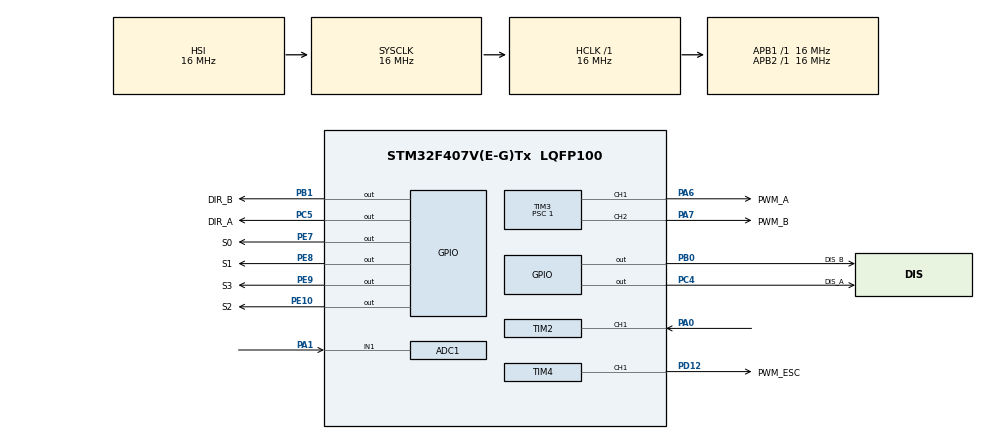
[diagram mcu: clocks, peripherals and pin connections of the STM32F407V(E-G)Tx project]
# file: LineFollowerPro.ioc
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ADC1.Channel-0\#ChannelRegularConversion=ADC_CHANNEL_1
ADC1.NbrOfConversionFlag=1
ADC1.Rank-0\#ChannelRegularConversion=1
ADC1.SamplingTime-0\#ChannelRegularConversion=ADC_SAMPLETIME_3CYCLES
ADC1.master=1
Mcu.Family=STM32F4
Mcu.Name=STM32F407V(E-G)Tx
Mcu.Package=LQFP100
NVIC.PriorityGroup=NVIC_PRIORITYGROUP_4
NVIC.TIM2_IRQn=true\:0\:0\:false\:false\:true\:true\:true
PA0-WKUP.Signal=S_TIM2_CH1_ETR
PA1.Signal=ADCx_IN1
PA13.Mode=Serial_Wire
PA13.Signal=SYS_JTMS-SWDIO
PA14.Mode=Serial_Wire
PA14.Signal=SYS_JTCK-SWCLK
PA6.GPIO_Label=PWM_A
PA6.Signal=S_TIM3_CH1
PA7.GPIO_Label=PWM_B
PA7.Signal=S_TIM3_CH2
PB0.GPIO_Label=DIS_B
PB0.GPIO_Speed=GPIO_SPEED_FREQ_MEDIUM
PB0.Signal=GPIO_Output
PB1.GPIO_Label=DIR_B
PB1.GPIO_Speed=GPIO_SPEED_FREQ_MEDIUM
PB1.Signal=GPIO_Output
PC4.GPIO_Label=DIS_A
PC4.GPIO_Speed=GPIO_SPEED_FREQ_MEDIUM
PC4.Signal=GPIO_Output
PC5.GPIO_Label=DIR_A
PC5.GPIO_Speed=GPIO_SPEED_FREQ_MEDIUM
PC5.Signal=GPIO_Output
PD12.GPIO_Label=PWM_ESC
PD12.Signal=S_TIM4_CH1
PE10.GPIO_Label=S2
PE10.GPIO_Speed=GPIO_SPEED_FREQ_MEDIUM
PE10.Signal=GPIO_Output
PE7.GPIO_Label=S0
PE7.GPIO_Speed=GPIO_SPEED_FREQ_MEDIUM
PE7.Signal=GPIO_Output
PE8.GPIO_Label=S1
PE8.GPIO_Speed=GPIO_SPEED_FREQ_MEDIUM
PE8.Signal=GPIO_Output
PE9.GPIO_Label=S3
PE9.GPIO_Speed=GPIO_SPEED_FREQ_MEDIUM
PE9.Signal=GPIO_Output
ProjectManager.HeapSize=0x200
ProjectManager.StackSize=0x400
ProjectManager.TargetToolchain=STM32CubeIDE
RCC.AHBFreq_Value=16000000
RCC.APB1Freq_Value=16000000
RCC.APB2Freq_Value=16000000
RCC.CortexFreq_Value=16000000
RCC.HSE_VALUE=25000000
RCC.HSI_VALUE=16000000
RCC.LSE_VALUE=32768
RCC.SYSCLKFreq_VALUE=16000000
RCC.VCOOutputFreq_Value=192000000
SH.ADCx_IN1.0=ADC1_IN1,IN1
SH.S_TIM2_CH1_ETR.0=TIM2_CH1,Input_Capture1_from_TI1
SH.S_TIM3_CH1.0=TIM3_CH1,PWM Generation1 CH1
SH.S_TIM3_CH2.0=TIM3_CH2,PWM Generation2 CH2
SH.S_TIM4_CH1.0=TIM4_CH1,PWM Generation1 CH1
TIM2.Channel-Input_Capture1_from_TI1=TIM_CHANNEL_1
TIM2.ICFilter_CH1=15
TIM2.ICPolarity_CH1=TIM_INPUTCHANNELPOLARITY_FALLING
TIM2.Prescaler=159
TIM3.Channel-PWM\ Generation1\ CH1=TIM_CHANNEL_1
TIM3.Channel-PWM\ Generation2\ CH2=TIM_CHANNEL_2
TIM3.Period=499
TIM3.Prescaler=1
TIM4.Channel-PWM\ Generation1\ CH1=TIM_CHANNEL_1
TIM4.Period=1999
TIM4.Prescaler=159
TIM4.Pulse-PWM\ Generation1\ CH1=112
VP_TIM2_VS_ClockSourceINT.Mode=Internal
VP_TIM3_VS_ClockSourceINT.Mode=Internal
VP_TIM4_VS_ClockSourceINT.Mode=Internal
board=custom

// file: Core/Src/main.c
/* USER CODE BEGIN Header */
/**
  ******************************************************************************
  * @file           : main.c
  * @brief          : Main program body
  ******************************************************************************
  * @attention
  *
  * <h2><center>&copy; Copyright (c) 2020 STMicroelectronics.
  * All rights reserved.</center></h2>
  *
  * This software component is licensed by ST under BSD 3-Clause license,
  * the "License"; You may not use this file except in compliance with the
  * License. You may obtain a copy of the License at:
  *                        opensource.org/licenses/BSD-3-Clause
  *
  ******************************************************************************
  */
/* USER CODE END Header */
#include "main.h"
#include "adc.h"
#include "tim.h"
#include "gpio.h"

/* USER CODE BEGIN PM */
#define white 1
#define black 0
#define OUT_LINE  100.0
//-----------------------
#define ON 33456254
#define OFF 33441974
#define ONE 33444014
#define TWO 33478694
/* USER CODE END PM */

/* USER CODE BEGIN PV */
typedef enum {START,DATA,DATA_FULL}State_ir;
typedef enum {CENTER,RIGHT,LEFT} Out_state;
typedef enum {HOME,STARTING,RUN} State;

struct Control_NEC
{
	uint32_t input_capture;
	uint32_t input_diference;
	uint32_t input_last;
	uint32_t data;
	uint8_t sample;
	State_ir  state;
}NEC_IR;

struct Control_pid
{
	int U;
	float KP;
	float KD;
	float KI;
	float error_now;
	float error_last[6];
	float sum_errors;
};

struct Line_Follower
{
	int track_background_color;
 	int sensors_qtr[16];
	int speed_left;
	int speed_right;
	int MAX_SPEED;
	int MED_SPEED;
	State state;
	Out_state out_state;
	struct Control_pid PID;
}LF;

/* USER CODE END PV */

void SystemClock_Config(void);

/* USER CODE BEGIN 0 */
void Init_Control_NEC(struct Control_NEC* nec);
void Init_Line_Follower(struct Line_Follower* lf);
void Turn_on_off(struct Control_NEC* nec,struct Line_Follower* lf);
int Read_adc(void);
void Read_sensors_qtr(struct Line_Follower* lf);
void Get_error(struct Line_Follower* lf);
void Motor_left (struct Line_Follower* lf);
void Motor_right(struct Line_Follower* lf);
void Turbine(int speed);
void Line_follower_state_machine(struct Line_Follower* lf);
/* USER CODE END 0 */

int main(void)
{

  /* MCU Configuration--------------------------------------------------------*/

  /* Reset of all peripherals, Initializes the Flash interface and the Systick. */
  HAL_Init();

  /* Configure the system clock */
  SystemClock_Config();

  /* Initialize all configured peripherals */
  MX_GPIO_Init();
  MX_ADC1_Init();
  MX_TIM3_Init();
  MX_TIM4_Init();
  MX_TIM2_Init();
  /* USER CODE BEGIN 2 */
  Init_Control_NEC(&NEC_IR);
  Init_Line_Follower(&LF);
  HAL_TIM_PWM_Start(&htim3, TIM_CHANNEL_1);
  HAL_TIM_PWM_Start(&htim3, TIM_CHANNEL_2);
  HAL_TIM_PWM_Start(&htim4, TIM_CHANNEL_1);
  HAL_GPIO_WritePin(GPIOC, DIS_A_Pin,GPIO_PIN_RESET);
  HAL_GPIO_WritePin(GPIOB, DIS_B_Pin,GPIO_PIN_RESET);
  Turbine(12);
  HAL_Delay(8000);
  HAL_TIM_IC_Start_IT(&htim2,TIM_CHANNEL_1);
  /* USER CODE END 2 */

  /* Infinite loop */
  while (1)
  {

    /* USER CODE BEGIN 3 */
	  Turn_on_off(&NEC_IR,&LF);
	  Line_follower_state_machine(&LF);
  }

  /* USER CODE END 3 */
}

void SystemClock_Config(void)
{
  RCC_OscInitTypeDef RCC_OscInitStruct = {0};
  RCC_ClkInitTypeDef RCC_ClkInitStruct = {0};

  /** Configure the main internal regulator output voltage
  */
  __HAL_RCC_PWR_CLK_ENABLE();
  __HAL_PWR_VOLTAGESCALING_CONFIG(PWR_REGULATOR_VOLTAGE_SCALE1);
  /** Initializes the RCC Oscillators according to the specified parameters
  * in the RCC_OscInitTypeDef structure.
  */
  RCC_OscInitStruct.OscillatorType = RCC_OSCILLATORTYPE_HSI;
  RCC_OscInitStruct.HSIState = RCC_HSI_ON;
  RCC_OscInitStruct.HSICalibrationValue = RCC_HSICALIBRATION_DEFAULT;
  RCC_OscInitStruct.PLL.PLLState = RCC_PLL_NONE;
  if (HAL_RCC_OscConfig(&RCC_OscInitStruct) != HAL_OK)
  {
    Error_Handler();
  }
  /** Initializes the CPU, AHB and APB buses clocks
  */
  RCC_ClkInitStruct.ClockType = RCC_CLOCKTYPE_HCLK|RCC_CLOCKTYPE_SYSCLK
                              |RCC_CLOCKTYPE_PCLK1|RCC_CLOCKTYPE_PCLK2;
  RCC_ClkInitStruct.SYSCLKSource = RCC_SYSCLKSOURCE_HSI;
  RCC_ClkInitStruct.AHBCLKDivider = RCC_SYSCLK_DIV1;
  RCC_ClkInitStruct.APB1CLKDivider = RCC_HCLK_DIV1;
  RCC_ClkInitStruct.APB2CLKDivider = RCC_HCLK_DIV1;

  if (HAL_RCC_ClockConfig(&RCC_ClkInitStruct, FLASH_LATENCY_0) != HAL_OK)
  {
    Error_Handler();
  }
}

/* USER CODE BEGIN 4 */
void Init_Line_Follower(struct Line_Follower* lf)
{
	lf->track_background_color = white;
	for(int i=0;i<16;i++)
		lf->sensors_qtr[i] = 0;
	lf->speed_left = 0;
	lf->speed_right = 0;
	lf->MAX_SPEED = 499;
	lf->MED_SPEED = 345;
	lf->state = HOME;
	lf->out_state = CENTER;
	lf->PID.U = 0;
	lf->PID.KP = 61.2444;
	lf->PID.KD = 168.4224;
	lf->PID.KI = 1.0;
	lf->PID.error_now = 0.0;
	for(int i=0;i<6;i++)
		lf->PID.error_last[i] = 0.0;
	lf->PID.sum_errors = 0.0;
}
//-----------------------------------------------------------------------
void Init_Control_NEC(struct Control_NEC* nec)
{
	nec->input_capture = 0;
	nec->input_diference = 0;
	nec->input_last = 0;
	nec->data = 0;
	nec->sample = 0;
	nec->state = START;
}
//---------------------------------------------------------------------
int Read_adc(void)
{
	int sensor_value = 4095;
	HAL_ADC_Start(&hadc1);
	if(HAL_ADC_PollForConversion(&hadc1,5) == HAL_OK)
		sensor_value  = (int)(HAL_ADC_GetValue(&hadc1));
	HAL_ADC_Stop(&hadc1);
	return sensor_value;
}
//---------------------------------------------------------------------
void Read_sensors_qtr(struct Line_Follower* lf)
{
	for(int i = 0;i<16;i++)
	{
		HAL_GPIO_WritePin(GPIOE, S0_Pin, i & 0x01);
		HAL_GPIO_WritePin(GPIOE, S1_Pin, i & 0x02);
		HAL_GPIO_WritePin(GPIOE, S2_Pin, i & 0x04);
		HAL_GPIO_WritePin(GPIOE, S3_Pin, i & 0x08);
		lf->sensors_qtr[i] = Read_adc();
	}
}
//---------------------------------------------------------------------
void Get_error(struct Line_Follower* lf)
{
	int max;
	int min;
	int threshold;
	int range;
	int bit_sensor[16];
	int sum = 0;
	int weigth[8] = {8,7,6,5,4,3,2,1};
	int errorLeft = 0;
	int errorRight = 0;
	//Read samples from each sensor
	Read_sensors_qtr(lf);
	max = min = lf->sensors_qtr[0];
	for(int i=1;i<16;i++)
	{
		if(lf->sensors_qtr[i]> max)
			max = lf->sensors_qtr[i];
		if(lf->sensors_qtr[i] < min)
			min = lf->sensors_qtr[i];
	}
	range = max-min;
	if(range > 400)
	{
		threshold = (range/2)+min;
		for(int i=0;i<16;i++)
		{
			if(lf->track_background_color)
				bit_sensor[i] = (lf->sensors_qtr[i] < threshold) ? 1 : 0;
			else
				bit_sensor[i] = (lf->sensors_qtr[i] > threshold) ? 1 : 0;
		}
		for(int i=0;i<8;i++)
		{
			errorLeft += bit_sensor[i]*weigth[i];
			errorRight += bit_sensor[15-i]*weigth[i];
		}
		for(int i=0;i<16;i++)
			sum += bit_sensor[i];
		lf->PID.error_now = (float)(errorRight-errorLeft)/(float)(sum);
		lf->out_state = ((lf->PID.error_now <= 2.5)&&(lf->PID.error_now >=(0-2.5)))  ? CENTER : lf->out_state;
		lf->out_state = ((lf->PID.error_now > 2.5)&&(lf->PID.error_now <=8.0))        ?  RIGHT: lf->out_state;
        lf->out_state = ((lf->PID.error_now <(0-2.5))&&(lf->PID.error_now >=(0-8.0))) ? LEFT: lf->out_state;
	}
	else
		lf->PID.error_now =  OUT_LINE;
}

//---------------------------------------------------------------------
void Motor_left(struct Line_Follower* lf)
{
	if(!lf->speed_left)
	{
		HAL_GPIO_WritePin(GPIOC, DIR_A_Pin,GPIO_PIN_RESET);
		__HAL_TIM_SET_COMPARE(&htim3, TIM_CHANNEL_1,0);

	}
	else
	{
		lf->speed_left = (lf->speed_left  >= lf->MAX_SPEED) ? lf->MAX_SPEED : lf->speed_left;
		if (lf->speed_left >=1)
		{
			HAL_GPIO_WritePin(GPIOC, DIR_A_Pin,GPIO_PIN_RESET);
			__HAL_TIM_SET_COMPARE(&htim3, TIM_CHANNEL_1,lf->speed_left);
		}
		else
		{
			lf->speed_left *= (0-1);
			lf->speed_left = (lf->speed_left >= lf->MAX_SPEED) ? lf->MAX_SPEED : lf->speed_left;
			HAL_GPIO_WritePin(GPIOC, DIR_A_Pin,GPIO_PIN_SET);
			__HAL_TIM_SET_COMPARE(&htim3, TIM_CHANNEL_1,lf->speed_left );
      }
   }
   return;
}
//---------------------------------------------------------------------
void Motor_right(struct Line_Follower* lf)
{
	if(!lf->speed_right)
	{
		HAL_GPIO_WritePin(GPIOB, DIR_B_Pin,GPIO_PIN_RESET);
		__HAL_TIM_SET_COMPARE(&htim3, TIM_CHANNEL_2,0);

	}
	else
	{
		lf->speed_right = (lf->speed_right >= lf->MAX_SPEED) ? lf->MAX_SPEED : lf->speed_right;
		if (lf->speed_right >=1)
		{
			HAL_GPIO_WritePin(GPIOB, DIR_B_Pin,GPIO_PIN_SET);
			__HAL_TIM_SET_COMPARE(&htim3, TIM_CHANNEL_2,lf->speed_right);
		}
		else
		{
			lf->speed_right *= (0-1);
			lf->speed_right = (lf->speed_right >= lf->MAX_SPEED) ? lf->MAX_SPEED : lf->speed_right;
			HAL_GPIO_WritePin(GPIOB, DIR_B_Pin,GPIO_PIN_RESET);
			__HAL_TIM_SET_COMPARE(&htim3, TIM_CHANNEL_2,lf->speed_right);
      }
   }
   return;
}
//---------------------------------------------------------------------
void Turbine(int speed)
{
	if(speed < 0)
		speed = 0;
	else if(speed > 100)
		speed = 100;
	speed += 100;
	__HAL_TIM_SET_COMPARE(&htim4, TIM_CHANNEL_1,speed);
	return;
}
//-------------------------------------------------------------------
void HAL_TIM_IC_CaptureCallback(TIM_HandleTypeDef *htim)
{
	if (htim->Instance==TIM2)
	{
		if(NEC_IR.state == START)
		{
			//Restart counter
			__HAL_TIM_SetCounter(&htim2,0);
			//Clear variables
			NEC_IR.input_capture = 0;
			NEC_IR.input_last = 0;
			NEC_IR.input_diference = 0;
			NEC_IR.sample = 0;
			//start protocol
			NEC_IR.state = DATA;
	  }
	  else if(NEC_IR.state == DATA)
	  {
		  //Read Timer
		  NEC_IR.input_capture = __HAL_TIM_GetCompare(&htim2, TIM_CHANNEL_1);    //read TIM2 channel 1 capture value
		  //get difference between first pulse to second pulse
		  NEC_IR.input_diference =  NEC_IR.input_capture - NEC_IR.input_last;
		  //if the logic bit 1 occurs
		  if(NEC_IR.input_diference > 215 && NEC_IR.input_diference < 235)//225
		  {
			 NEC_IR.data |= (1UL << (31 - NEC_IR.sample));   // write 1
			 NEC_IR.sample++;//increase sample
		  }
		  //if the logic bit 0 occurs
		  else if(NEC_IR.input_diference > 102 && NEC_IR.input_diference < 122)//112
		  {
			  NEC_IR.data &= ~(1UL << (31 - NEC_IR.sample));//write 0
			  NEC_IR.sample++;//increase sample
		  }
		  if(NEC_IR.sample==31)//if sample is 31 data is full
			  NEC_IR.state = DATA_FULL;
		  NEC_IR.input_last = NEC_IR.input_capture;
     }
   }
   return;
}
//--------------------------------------------------------------------------------------
void Turn_on_off(struct Control_NEC* nec,struct Line_Follower* lf)
{
	if(nec->state == DATA_FULL)
	{
		switch (nec->data)
		{
			case ON:
				lf->state = STARTING;
		      	break;
		    case OFF:
				lf->state = HOME;
		        break;
		    case ONE:
		        lf->PID.KP = 51.4257;//98.5219//142.8568;//51.4257;
		        lf->PID.KI = 1.0;//1.52//2.318;//1.0
		        lf->PID.KD = 141.4208;//270.9322//406.3984//;141.4208
		        lf->MAX_SPEED = 399;//499//419
		        lf->MED_SPEED  = 300;//499//289
		        lf->state = STARTING;
		        break;
		    case TWO:
		    	lf->PID.KP = 61.2444;//98.5219//142.8568;//51.4257;
		    	lf->PID.KD = 168.4224;//270.9322//406.3984//;141.4208
		    	lf->PID.KI = 1.0;//1.52//2.318;//1.0
		    	lf->MAX_SPEED = 499;//499//419
		    	lf->MED_SPEED  = 345;//499//289
		    	lf->state = STARTING;
		    	break;
		}
		HAL_Delay(150);
		nec->data = 0;
		nec->state = START;
	}
}
//-----------------------------------------------------------------------------------------
void Line_follower_state_machine(struct Line_Follower* lf)
{
	switch (lf->state)
	{
		case HOME:
			Turbine(12);
			lf->speed_left = 0;
			lf->speed_right = 0;
			break;
		case STARTING:
			Turbine(38);
			lf->state = RUN;
			HAL_Delay(1000);
			break;
		case RUN:
			//Read real error -10 to 10
			Get_error(lf);
			//Out line
			if(lf->PID.error_now == OUT_LINE)
			{
				//Out line state machine//
				switch (lf->out_state)
				{
					case CENTER:
		            	lf->speed_left = lf->MED_SPEED;
		            	lf->speed_right = lf->MED_SPEED;
		                break;
		            case RIGHT:
		            	lf->speed_left = lf->MAX_SPEED;//left
		            	lf->speed_right = (0-lf->MAX_SPEED);//Right
		            	break;
		            case LEFT:
		            	lf->speed_left = (0-lf->MAX_SPEED);
		            	lf->speed_right = lf->MAX_SPEED;
		                break;
				}
			}
			//On line
			else
			{
				lf->PID.sum_errors = 0;
				for(int i =0;i<6;i++)
					lf->PID.sum_errors += lf->PID.error_last[i];
				lf->PID.U = (int)(lf->PID.KP * lf->PID.error_now + lf->PID.KD * (lf->PID.error_now - lf->PID.error_last[0])+lf->PID.KI*lf->PID.sum_errors);
				lf->speed_left = lf->MED_SPEED + lf->PID.U;
				lf->speed_right = lf->MED_SPEED - lf->PID.U;
				lf->PID.error_last[5] = lf->PID.error_last[4];
				lf->PID.error_last[4] = lf->PID.error_last[3];
				lf->PID.error_last[3] = lf->PID.error_last[2];
				lf->PID.error_last[2] = lf->PID.error_last[1];
				lf->PID.error_last[1] = lf->PID.error_last[0];
				lf->PID.error_last[0] = lf->PID.error_now;
			}
			break;
		}
		Motor_left(lf);
		Motor_right(lf);
}
/* USER CODE END 4 */

void Error_Handler(void)
{
}

/************************ (C) COPYRIGHT STMicroelectronics *****END OF FILE****/
